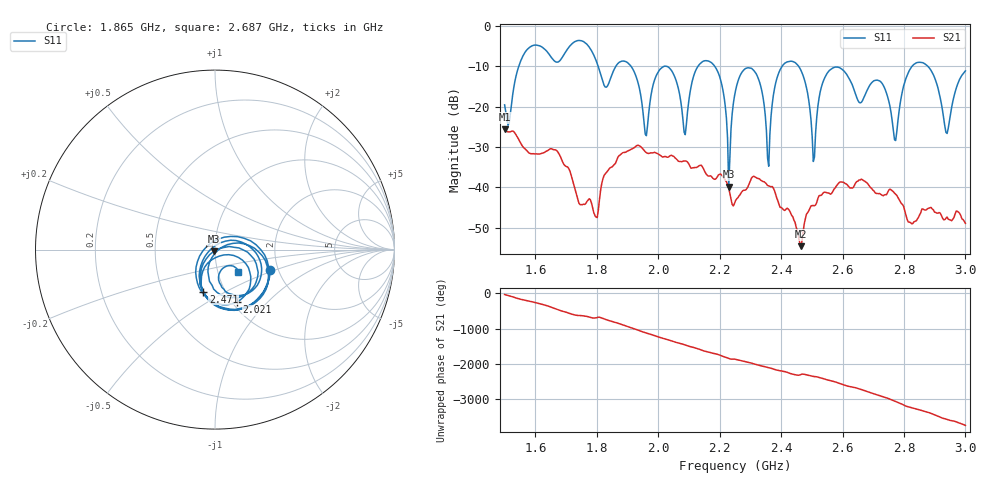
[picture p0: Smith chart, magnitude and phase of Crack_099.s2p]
# HZ S RI R 50
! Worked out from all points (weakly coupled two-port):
!   404 points, 1.5 GHz to 3 GHz, reference 50 ohm
!   highest |S21| = -25.68 dB at 1.5 GHz (marker M1); lowest = -54.6 dB at 2.464 GHz (marker M2)
!   lowest |S11| = -39.9 dB at 2.23 GHz (marker M3), VSWR 1.02, Z = 49.5 - j0.866 ohm
!   |S11| at or under -10 dB: 2.184 GHz to 2.404 GHz (219.6 MHz wide, 9.58 % of centre); 2.457 GHz to 2.826 GHz (369.3 MHz wide, 14 % of centre); 2.878 GHz to end of sweep (the widest 3 of 7)
!   S12 and S22 are empty: the file has one direction only
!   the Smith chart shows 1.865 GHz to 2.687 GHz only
!   S11 on the Smith chart (normalised r, x): 1.865 GHz: 1.81, -0.46; 2.021 GHz: 1.05, -0.68; 2.471 GHz: 0.79, -0.39; 2.687 GHz: 1.26, -0.32
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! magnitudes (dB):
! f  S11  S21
! 1.5 GHz  -19.6  -25.7
! 1.753 GHz  -3.8  -44.4
! 1.865 GHz  -9.7  -33.4
! 1.962 GHz  -27.2  -31.4
! 2.002 GHz  -11.1  -31.9
! 2.021 GHz  -10.0  -32.4
! 2.088 GHz  -27.0  -33.5
! 2.181 GHz  -9.7  -38.0
! 2.23 GHz  -39.9  -40.2
! 2.252 GHz  -16.0  -43.3
! 2.315 GHz  -11.4  -37.4
! 2.36 GHz  -34.8  -39.7
! 2.397 GHz  -10.8  -45.0
! 2.464 GHz  -10.9  -54.6
! 2.471 GHz  -12.3  -51.2
! 2.501 GHz  -27.5  -44.6
! 2.561 GHz  -10.8  -41.7
! 2.687 GHz  -14.9  -39.7
! 2.751 GHz  -18.6  -40.7
! 2.862 GHz  -9.1  -45.4
! 2.94 GHz  -26.7  -47.4
! 3 GHz  -11.1  -48.9
